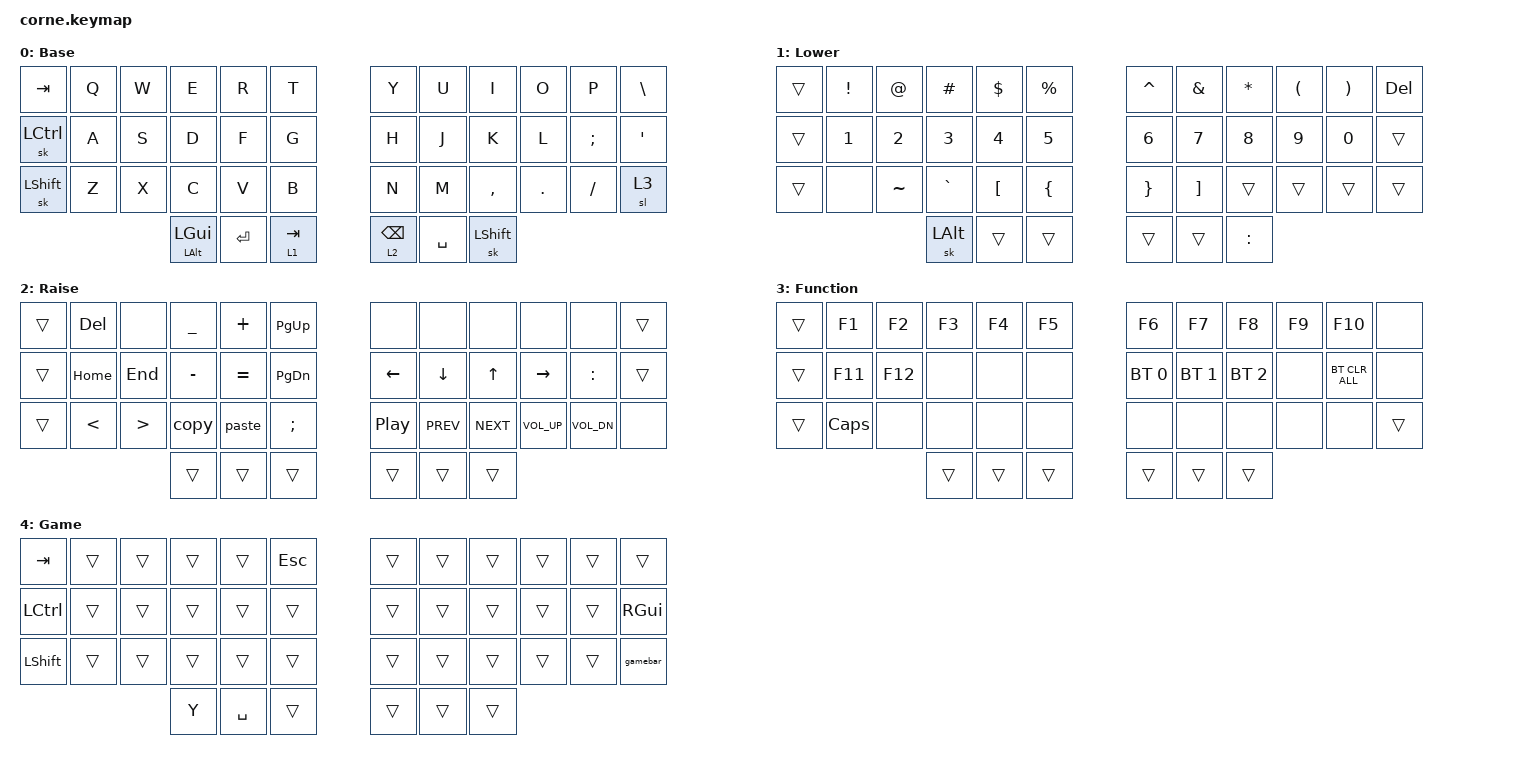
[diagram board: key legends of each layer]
/*
 * Copyright (c) 2020 The ZMK Contributors
 *
 * SPDX-License-Identifier: MIT
 */

#include <behaviors.dtsi>
#include <dt-bindings/zmk/bt.h>
#include <dt-bindings/zmk/keys.h>

/ {
    combos {
        compatible = "zmk,combos";

        game {
            bindings = <&tog 4>;
            key-positions = <34 35>;
        };

        escape {
            bindings = <&kp ESCAPE>;
            key-positions = <20 21>;
        };

        left_parenthesis {
            bindings = <&kp LEFT_PARENTHESIS>;
            key-positions = <4 5>;
        };

        left_brace {
            bindings = <&kp LEFT_BRACE>;
            key-positions = <16 17>;
        };

        left_bracket {
            bindings = <&kp LEFT_BRACKET>;
            key-positions = <28 29>;
        };

        right_parenthesis {
            bindings = <&kp RIGHT_PARENTHESIS>;
            key-positions = <6 7>;
        };

        right_brace {
            bindings = <&kp RIGHT_BRACE>;
            key-positions = <18 19>;
        };

        right_bracet {
            bindings = <&kp RIGHT_BRACKET>;
            key-positions = <30 31>;
        };

        plus {
            bindings = <&kp PLUS>;
            key-positions = <4 3>;
        };

        minus {
            bindings = <&kp MINUS>;
            key-positions = <16 15>;
        };

        equals {
            bindings = <&kp EQUAL>;
            key-positions = <28 27>;
        };

        less_than {
            bindings = <&kp LESS_THAN>;
            key-positions = <7 8>;
        };

        greater_than {
            bindings = <&kp GREATER_THAN>;
            key-positions = <19 20>;
        };

        pipe {
            bindings = <&kp PIPE>;
            key-positions = <31 32>;
        };
    };

    macros {
        gamebar: gamebar {
            compatible = "zmk,behavior-macro";
            #binding-cells = <0>;
            bindings =
                <&macro_press>,
                <&kp LEFT_GUI>,
                <&macro_tap>,
                <&kp G>,
                <&macro_release>,
                <&kp LEFT_GUI>;

            label = "GAMEBAR";
            tap-ms = <0>;
        };

        copy: copy {
            compatible = "zmk,behavior-macro";
            #binding-cells = <0>;
            bindings =
                <&macro_press>,
                <&kp LEFT_CONTROL>,
                <&macro_tap>,
                <&kp C>,
                <&macro_release>,
                <&kp LEFT_CONTROL>;

            label = "COPY";
        };

        paste: paste {
            compatible = "zmk,behavior-macro";
            #binding-cells = <0>;
            bindings =
                <&macro_press>,
                <&kp LEFT_CONTROL>,
                <&macro_tap>,
                <&kp V>,
                <&macro_release>,
                <&kp LEFT_CONTROL>;

            label = "PASTE";
        };
    };

    keymap {
        compatible = "zmk,keymap";

        Base {
            // -----------------------------------------------------------------------------------------
            // |  TAB |  Q  |  W  |  E  |  R  |  T  |   |  Y  |  U   |  I  |  O  |  P  | BKSP |
            // | CTRL |  A  |  S  |  D  |  F  |  G  |   |  H  |  J   |  K  |  L  |  ;  |  '   |
            // | SHFT |  Z  |  X  |  C  |  V  |  B  |   |  N  |  M   |  ,  |  .  |  /  | ESC  |
            //                    | GUI | LWR | SPC |   | ENT | RSE  | ALT |

            display-name = "Base";
            bindings = <
&kp TAB    &kp Q  &kp W  &kp E                  &kp R      &kp T        &kp Y            &kp U      &kp I       &kp O    &kp P     &kp BACKSLASH
&sk LCTRL  &kp A  &kp S  &kp D                  &kp F      &kp G        &kp H            &kp J      &kp K       &kp L    &kp SEMI  &kp SQT
&sk LSHFT  &kp Z  &kp X  &kp C                  &kp V      &kp B        &kp N            &kp M      &kp COMMA   &kp DOT  &kp FSLH  &sl 3
                         &mt LEFT_ALT LEFT_GUI  &kp ENTER  &lt 1 TAB    &lt 2 BACKSPACE  &kp SPACE  &sk LSHIFT
            >;
        };

        Lower {
            // -----------------------------------------------------------------------------------------
            // |  TAB |  1  |  2  |  3  |  4  |  5  |   |  6  |  7  |  8  |  9  |  0  | BKSP |
            // | BTCLR| BT1 | BT2 | BT3 | BT4 | BT5 |   | LFT | DWN |  UP | RGT |     |      |
            // | SHFT |     |     |     |     |     |   |     |     |     |     |     |      |
            //                    | GUI |     | SPC |   | ENT |     | ALT |

            display-name = "Lower";
            bindings = <
&trans  &kp EXCL      &kp AT        &kp POUND     &kp DOLLAR        &kp PERCENT       &kp CARET        &kp AMPERSAND      &kp ASTERISK  &kp LEFT_PARENTHESIS  &kp RIGHT_PARENTHESIS  &kp DELETE
&trans  &kp NUMBER_1  &kp NUMBER_2  &kp NUMBER_3  &kp NUMBER_4      &kp NUMBER_5      &kp NUMBER_6     &kp NUMBER_7       &kp NUMBER_8  &kp NUMBER_9          &kp NUMBER_0           &trans
&trans  &none         &kp TILDE     &kp GRAVE     &kp LEFT_BRACKET  &kp LEFT_BRACE    &kp RIGHT_BRACE  &kp RIGHT_BRACKET  &trans        &trans                &trans                 &trans
                                    &sk LEFT_ALT  &trans            &trans            &trans           &trans             &kp COLON
            >;
        };

        Raise {
            // -----------------------------------------------------------------------------------------
            // |  TAB |  !  |  @  |  #  |  $  |  %  |   |  ^  |  &  |  *  |  (  |  )  | BKSP |
            // | CTRL |     |     |     |     |     |   |  -  |  =  |  [  |  ]  |  \  |  `   |
            // | SHFT |     |     |     |     |     |   |  _  |  +  |  {  |  }  | "|" |  ~   |
            //                    | GUI |     | SPC |   | ENT |     | ALT |

            display-name = "Raise";
            bindings = <
&trans  &kp DELETE     &none             &kp UNDER  &kp PLUS   &kp PAGE_UP      &none     &none       &none         &none         &none         &trans
&trans  &kp HOME       &kp END           &kp MINUS  &kp EQUAL  &kp PAGE_DOWN    &kp LEFT  &kp DOWN    &kp UP_ARROW  &kp RIGHT     &kp COLON     &trans
&trans  &kp LESS_THAN  &kp GREATER_THAN  &copy      &paste     &kp SEMICOLON    &kp C_PP  &kp C_PREV  &kp C_NEXT    &kp C_VOL_UP  &kp C_VOL_DN  &none
                                         &trans     &trans     &trans           &trans    &trans      &trans
            >;
        };

        Function {
            bindings = <
&trans  &kp F1    &kp F2   &kp F3  &kp F4  &kp F5    &kp F6        &kp F7        &kp F8        &kp F9  &kp F10         &none
&trans  &kp F11   &kp F12  &none   &none   &none     &bt BT_SEL 0  &bt BT_SEL 1  &bt BT_SEL 2  &none   &bt BT_CLR_ALL  &none
&trans  &kp CAPS  &none    &none   &none   &none     &none         &none         &none         &none   &none           &trans
                           &trans  &trans  &trans    &trans        &trans        &trans
            >;
        };

        Game {
            bindings = <
&kp TAB           &trans  &trans  &trans  &trans     &kp ESC    &trans  &trans  &trans  &trans  &trans  &trans
&kp LEFT_CONTROL  &trans  &trans  &trans  &trans     &trans     &trans  &trans  &trans  &trans  &trans  &kp RIGHT_GUI
&kp LEFT_SHIFT    &trans  &trans  &trans  &trans     &trans     &trans  &trans  &trans  &trans  &trans  &gamebar
                                  &kp Y   &kp SPACE  &trans     &trans  &trans  &trans
            >;
        };
    };
};
